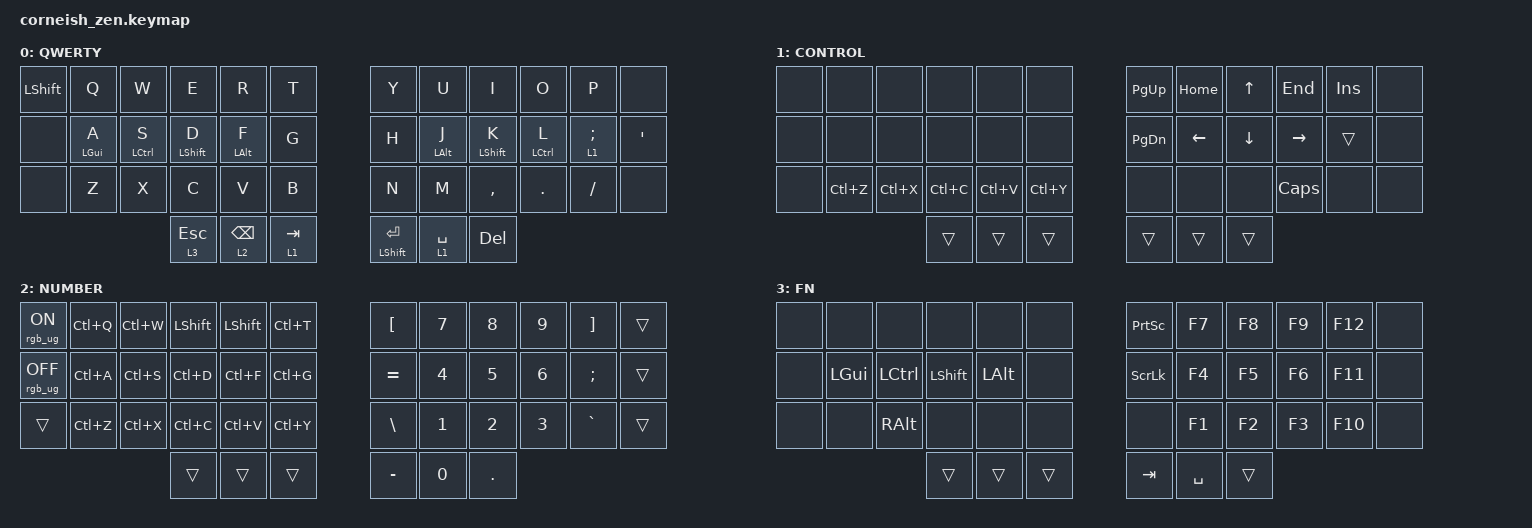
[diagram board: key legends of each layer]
/*
 * Copyright (c) 2020 The ZMK Contributors
 *
 * SPDX-License-Identifier: MIT
 */

#include <behaviors.dtsi>
#include <dt-bindings/zmk/keys.h>
#include <dt-bindings/zmk/rgb.h>

/ {
    chosen {
        zmk,matrix_transform = &default_transform;

        // zmk,matrix_transform = &five_column_transform;
    };
};

/ {
    behaviors {
        td0: td0 {
            compatible = "zmk,behavior-tap-dance";
            label = "TD0";
            #binding-cells = <0>;
            bindings = <&kp LEFT_BRACE>, <&kp RIGHT_BRACE>;
        };

        s9: s9 {
            compatible = "zmk,behavior-tap-dance";
            label = "S9";
            #binding-cells = <0>;
            bindings = <&kp LEFT_PARENTHESIS>, <&kp RIGHT_PARENTHESIS>;
        };
    };

    keymap {
        compatible = "zmk,keymap";

        default_layer {
            display-name = "QWERTY";

            // --------------------------------------------------------------------------------
            // |  TAB |  Q  |  W  |  E  |  R  |  T  |   |  Y  |  U   |  I  |  O  |  P  | BKSP |
            // | CTRL |  A  |  S  |  D  |  F  |  G  |   |  H  |  J   |  K  |  L  |  ;  |  '   | 
            // | SHFT |  Z  |  X  |  C  |  V  |  B  |   |  N  |  M   |  ,  |  .  |  /  | ESC  |
            //                    | GUI | LWR | SPC |   | ENT | RSE  | ALT |

            bindings = <
&kp LSHFT  &kp Q           &kp W        &kp E        &kp R            &kp T        &kp Y            &kp U           &kp I        &kp O        &kp P       &none
&none      &mt LEFT_GUI A  &mt LCTRL S  &mt LSHFT D  &mt LEFT_ALT F   &kp G        &kp H            &mt LEFT_ALT J  &mt LSHFT K  &mt LCTRL L  &lt 1 SEMI  &kp SQT
&none      &kp Z           &kp X        &kp C        &kp V            &kp B        &kp N            &kp M           &kp COMMA    &kp DOT      &kp FSLH    &none
                                        &lt 3 ESC    &lt 2 BACKSPACE  &lt 1 TAB    &mt LSHFT ENTER  &lt 1 SPACE     &kp DELETE
            >;
        };

        layer_1 {
            bindings = <
&none  &none      &none      &none      &none      &none        &kp PAGE_UP    &kp HOME  &kp UP    &kp END    &kp INSERT  &none
&none  &none      &none      &none      &none      &none        &kp PAGE_DOWN  &kp LEFT  &kp DOWN  &kp RIGHT  &trans      &none
&none  &kp LC(Z)  &kp LC(X)  &kp LC(C)  &kp LC(V)  &kp LC(Y)    &none          &none     &none     &kp CAPS   &none       &none
                             &trans     &trans     &trans       &trans         &trans    &trans
            >;

            label = "CONTROL";
        };

        layer_2 {
            bindings = <
&rgb_ug RGB_ON   &kp LC(Q)  &kp LC(W)  &kp LSHFT  &kp LSHFT  &kp LC(T)    &kp LBKT   &kp N7  &kp N8   &kp N9  &kp RBKT   &trans
&rgb_ug RGB_OFF  &kp LC(A)  &kp LC(S)  &kp LC(D)  &kp LC(F)  &kp LC(G)    &kp EQUAL  &kp N4  &kp N5   &kp N6  &kp SEMI   &trans
&trans           &kp LC(Z)  &kp LC(X)  &kp LC(C)  &kp LC(V)  &kp LC(Y)    &kp BSLH   &kp N1  &kp N2   &kp N3  &kp GRAVE  &trans
                                       &trans     &trans     &trans       &kp MINUS  &kp N0  &kp DOT
            >;

            label = "NUMBER";
        };

        layer_3 {
            bindings = <
&none  &none     &none      &none      &none     &none     &kp PRINTSCREEN  &kp F7     &kp F8  &kp F9  &kp F12  &none
&none  &kp LGUI  &kp LCTRL  &kp LSHFT  &kp LALT  &none     &kp SCROLLLOCK   &kp F4     &kp F5  &kp F6  &kp F11  &none
&none  &none     &kp RALT   &none      &none     &none     &none            &kp F1     &kp F2  &kp F3  &kp F10  &none
                            &trans     &trans    &trans    &kp TAB          &kp SPACE  &trans
            >;

            label = "FN";
        };
    };
};
